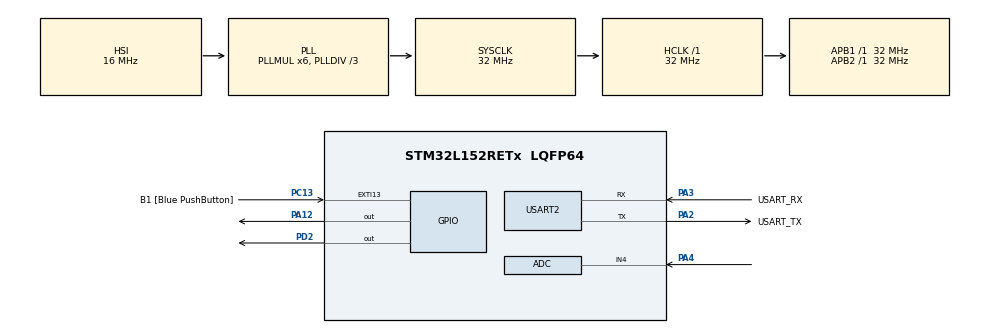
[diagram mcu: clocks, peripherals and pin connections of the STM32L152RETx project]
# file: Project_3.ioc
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ADC.Channel-0\#ChannelRegularConversion=ADC_CHANNEL_4
ADC.NbrOfConversionFlag=1
ADC.Rank-0\#ChannelRegularConversion=1
ADC.SamplingTime-0\#ChannelRegularConversion=ADC_SAMPLETIME_4CYCLES
Mcu.Family=STM32L1
Mcu.Name=STM32L152RETx
Mcu.Package=LQFP64
NVIC.PriorityGroup=NVIC_PRIORITYGROUP_0
PA12.Signal=GPIO_Output
PA13.GPIO_Label=TMS
PA13.Mode=Serial_Wire
PA13.Signal=SYS_JTMS-SWDIO
PA14.GPIO_Label=TCK
PA14.Mode=Serial_Wire
PA14.Signal=SYS_JTCK-SWCLK
PA2.GPIO_Label=USART_TX
PA2.Mode=Asynchronous
PA2.Signal=USART2_TX
PA3.GPIO_Label=USART_RX
PA3.Mode=Asynchronous
PA3.Signal=USART2_RX
PA4.Mode=IN4
PA4.Signal=ADC_IN4
PA5.Signal=S_TIM2_CH1_ETR
PB3.GPIO_Label=SWO
PB3.Signal=SYS_JTDO-TRACESWO
PB6.Signal=S_TIM4_CH1
PB7.Signal=S_TIM4_CH2
PC13-WKUP2.GPIO_Label=B1 [Blue PushButton]
PC13-WKUP2.Signal=GPXTI13
PC14-OSC32_IN.Mode=LSE-External-Oscillator
PC14-OSC32_IN.Signal=RCC_OSC32_IN
PC15-OSC32_OUT.Mode=LSE-External-Oscillator
PC15-OSC32_OUT.Signal=RCC_OSC32_OUT
PD2.Signal=GPIO_Output
PH0-OSC_IN.Mode=HSE-External-Clock-Source
PH0-OSC_IN.Signal=RCC_OSC_IN
PH1-OSC_OUT.Signal=RCC_OSC_OUT
ProjectManager.HeapSize=0x200
ProjectManager.StackSize=0x400
ProjectManager.TargetToolchain=STM32CubeIDE
RCC.48MHZClocksFreq_Value=48000000
RCC.AHBFreq_Value=32000000
RCC.APB1Freq_Value=32000000
RCC.APB1TimFreq_Value=32000000
RCC.APB2Freq_Value=32000000
RCC.APB2TimFreq_Value=32000000
RCC.HCLKFreq_Value=32000000
RCC.HSE_VALUE=8000000
RCC.HSI_VALUE=16000000
RCC.MSI_VALUE=2097000
RCC.PLLDIV=RCC_PLL_DIV3
RCC.PLLMUL=RCC_PLL_MUL6
RCC.RTCClockSelectionVirtual=RCC_RTCCLKSOURCE_LSE
RCC.SYSCLKFreq_VALUE=32000000
RCC.SYSCLKSource=RCC_SYSCLKSOURCE_PLLCLK
RCC.USBOutput=48000000
RCC.VCOOutputFreq_Value=96000000
SH.S_TIM2_CH1_ETR.0=TIM2_CH1
SH.S_TIM4_CH1.0=TIM4_CH1
SH.S_TIM4_CH2.0=TIM4_CH2
USART2.VirtualMode=VM_ASYNC
VP_TIM2_VS_ClockSourceINT.Mode=Internal
VP_TIM4_VS_ClockSourceINT.Mode=Internal
board=NUCLEO-L152RE

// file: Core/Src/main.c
/* USER CODE BEGIN Header */
/**
  ******************************************************************************
  * @file           : main.c
  * @brief          : Main program body
  ******************************************************************************
  * @attention
  *
  * Copyright (c) 2022 STMicroelectronics.
  * All rights reserved.
  *
  * This software is licensed under terms that can be found in the LICENSE file
  * in the root directory of this software component.
  * If no LICENSE file comes with this software, it is provided AS-IS.
  *
  ******************************************************************************
  */
/* USER CODE END Header */
#include "main.h"

/* USER CODE BEGIN Includes */
#include <stdio.h>
#include <stdlib.h>
#include "Utiles_SDM.h"
/* USER CODE END Includes */

 ADC_HandleTypeDef hadc;

TIM_HandleTypeDef htim2;
TIM_HandleTypeDef htim4;

UART_HandleTypeDef huart2;

/* USER CODE BEGIN PV */
int option = 0; //Variable used to know what game has been selected.
int winner = 0; //Variable that will be modified once the winner is known.
int random_time = 5000; //The random time variable is set at this value for
//the first use, after that it will be random, as its name states.
int reaction_time_winner;  //Variable used to store the time of the winner.
int permit_print = 0; //A variable used to know if the count-down is shown on screen or not.
int counter = 10; //It is a counter that will be used to print the count-down in game 2.
//The value assigned to this variable is the time at which it starts, in this case 10.
//After the count-down ends, it has to be reset.
int player_1_time_game_2; //This variables stores the time which player 1 takes to press the button in game 2.
int player_2_time_game_2; //This variables stores the time which player 2 takes to press the button in game 2.
int player_1_button = 0; //Variable used to check whether player 1 has pressed the button or not.
int player_2_button = 0; //Variable used to check whether player 2 has pressed the button or not.
uint8_t text[20]; //Used for Bin2Ascii
int speed; //Variable used to store the duration of the step for the count-down in game two. Its value will be assigned with the potentiometer.
int sound = 0;
int playing_melody = 0;
int start_game = 1;
int game_running = 1;
int play = 1;
/* USER CODE END PV */

void SystemClock_Config(void);
static void MX_GPIO_Init(void);
static void MX_USART2_UART_Init(void);
static void MX_ADC_Init(void);
static void MX_TIM2_Init(void);
static void MX_TIM4_Init(void);

/* USER CODE BEGIN 0 */
void value_of_the_ADC() {
    int value_of_the_ADC;
    value_of_the_ADC = ADC1 -> DR; //Where the value of the ADC is stored.
    if(value_of_the_ADC <= 21) { //First range of values. The equivalent step is 500 ms
    	speed = 500;
    	TIM4 -> CCR3 = 500;
    }
    else if(value_of_the_ADC <= 42) { //Second range of values. The equivalent step is 1000 ms
    	speed = 1000;
    	TIM4 -> CCR3 = 1000;
    }
    else { //Third range of values. The equivalent step is 2000 ms
    	speed = 2000;
    	TIM4 -> CCR3 = 2000;
    }
}

void Melody1(void) {
	TIM2 -> CCER |= 0x0001;
	TIM2 -> SR &= ~(1 << 1);
	TIM2 -> DIER |= (1 << 1);
	TIM2 -> DIER |= (1 << 2);
	TIM2 -> CCR1 = 72;
	playing_melody = 1;
	sound = 0;
}

void Melody2(void) {
	TIM2 -> CCER |= 0x0001;
	TIM2 -> SR &= ~(1 << 1);
	TIM2 -> DIER |= (1 << 1);
	TIM2 -> DIER |= (1 << 2);
	TIM2 -> CCR1 = 45;
	playing_melody = 1;
	sound = 1;
}

void EXTI15_10_IRQHandler(void) {
	if(EXTI -> PR != 0) {
		game_running = 0;
		option++;
		if(option > 1)
			option = 0;
		EXTI -> PR |= (1 << 13);
	}
}

void TIM4_IRQHandler(void) {
	if(option == 0) {
		if((TIM4 -> SR & (1 << 2)) != 0) {
			winner = 1;
			reaction_time_winner = TIM4 -> CCR2;
			TIM4 -> SR &= ~(1 << 2);
			random_time = reaction_time_winner * 10;
		}
		if((TIM4 -> SR & (1 << 1)) != 0) {
			winner = 2;
			reaction_time_winner = TIM4 -> CCR1;
			TIM4 -> SR &= ~(1 << 1);
			random_time = reaction_time_winner * 10;
		}
		if((TIM4 -> SR & (1 << 3)) != 0) {
			if(start_game == 0)
				start_game = 2;
			if(play == 0)
				play = 1;
			TIM4 -> SR &= ~(1 << 3);
		}
	}
	/*else if(option == 1) {
		if((TIM4 -> SR & (1 << 3)) != 0) {
			if(TIM4 -> CCR3 < speed * 10)
				TIM4 -> CCR3 += speed;
			else {
				TIM4 -> DIER &= ~(1 << 3);
				TIM4 -> CCR3 = speed;
			}
			permit_print = 1;
			TIM4 -> SR &= ~(1 << 3);
		}
		else if((TIM4 -> SR & (1 << 2)) != 0) {
			player_1_button = 1;
			player_1_time_game_2 = TIM4 -> CCR2;
			random_time = abs(TIM4 -> CCR2 - speed * 10) * 10;
			TIM4 -> SR &= ~(1 << 2);
		}
		else if((TIM4 -> SR & (1 << 1)) != 0) {
			player_2_button = 1;
			player_2_time_game_2 = TIM4 -> CCR1;
			random_time = abs(TIM4 -> CCR1 - speed * 10) * 10;
			TIM4 -> SR &= ~(1 << 1);
		}
		else if((TIM4 -> SR & (1 << 4)) != 0) {
			play = 1;
			TIM4 -> SR &= ~(1 << 4);
		}
	}*/
}
/* USER CODE END 0 */

int main(void)
{

  /* MCU Configuration--------------------------------------------------------*/

  /* Reset of all peripherals, Initializes the Flash interface and the Systick. */
  HAL_Init();

  /* Configure the system clock */
  SystemClock_Config();

  /* Initialize all configured peripherals */
  MX_GPIO_Init();
  MX_USART2_UART_Init();
  MX_ADC_Init();
  MX_TIM2_Init();
  MX_TIM4_Init();
  /* USER CODE BEGIN 2 */
  //Setup USER_BUTTON as a digital input
   GPIOC -> MODER &= ~(1 << (13 * 2));
   GPIOC -> MODER &= ~(1 << (13 * 2 + 1));

   //Setup BUTTON_1 as a digital input
   GPIOB -> MODER &= ~(1 << (7 * 2));
   GPIOB -> MODER |= (1 << (7 * 2 + 1));

   GPIOB -> AFR[0] |= (1 << (4 * 7 + 1));

   //Setup BUTTON_2 as a digital input
   GPIOB -> MODER &= ~(1 << (6 * 2));
   GPIOB -> MODER |= (1 << (6 * 2 + 1));

   GPIOB -> AFR[0] |= (1 << (4 * 6 + 1));

   //Setup LED_1 as a digital output
   GPIOA -> MODER |= (1 << (12 * 2));
   GPIOA -> MODER &= ~(1 << (12 * 2 + 1));

   //Setup LED_2 as a digital output
   GPIOD -> MODER |= (1 << (2 * 2));
   GPIOD -> MODER &= ~(1 << (2 * 2 + 1));

   //Set up EXTI13
   SYSCFG -> EXTICR[3] |= (1 << 5);
   EXTI -> IMR |= (1 << 13);
   EXTI -> RTSR &= ~(1 << 13);
   EXTI -> FTSR |= (1 << 13);
   NVIC -> ISER[1] |= (1 << 8);

  //Set up PA4 as analog
   GPIOA -> MODER |= (1 << 4 * 2);
   GPIOA -> MODER |= (1 << (4 * 2 + 1));

   //Set up PA5 as alternate function
   GPIOA -> MODER |= (1 << (5 * 2 + 1));
   GPIOA -> AFR[0] |= (1 << 4 * 5);

   //Set up TIM4
   TIM4 -> CR1 = 0x0000;
   TIM4 -> CR2 = 0x0000;
   TIM4 -> SMCR = 0x0000;
   TIM4 -> PSC = 31999; //32MHz / PSC = 1 / frequency = 10^-3 s. Each count is 1 ms
   TIM4 -> CNT = 0;
   TIM4 -> ARR = 0xffff;
   TIM4 -> DIER |= (1 << 1);
   TIM4 -> DIER |= (1 << 2);
   TIM4 -> DIER |= (1 << 3);
   //TIM4 -> DIER |= (1 << 4);
   TIM4 -> CCMR1 |= 0x0000;
   TIM4 -> CCMR1 |= (1 << 0);
   TIM4 -> CCMR1 |= (1 << 8);
   TIM4 -> CCMR2 = 0x0000;
   TIM4 -> CCER = 0x0000;
   TIM4 -> CCER |= (1 << 0);

   TIM4 -> CCER |= (1 << 4);
   NVIC -> ISER[0] |= (1 << 30);
   TIM4 -> CCR3 = random_time;
   //TIM4 -> CCR4 = 3000;
   TIM4 -> CR1 |= 0x0001;
   TIM4 -> SR = 0x0000;
   TIM4 -> EGR |= 0x0001;

   //Set up ADC1
   ADC1 -> CR2 &= ~(1 << 0); //ADON
   ADC1 -> CR1 |= (1 << 24); //RES[0]
   ADC1 -> CR1 |= (1 << 25); //RES[1]
   ADC1 -> CR2 |= (1 << 1); //CONT
   ADC1 -> CR2 |= (1 << 0); //ADON
   ADC1 -> CR2 |= (1 << 30); //SWSTART

   //Set up TIM2
   TIM2 -> CR1 = 0x0000;
   TIM2 -> CR2 = 0x0000;
   TIM2 -> SMCR = 0x0000;
   TIM2 -> PSC = 31;
   TIM2 -> CNT = 0;
   TIM2 -> ARR = 0xffff;
   TIM2 -> CCMR1 = 0x0000;
   TIM2 -> CCMR1 |= (1 << 4);
   TIM2 -> CCMR1 |= (1 << 5);
   TIM2 -> CCMR2 = 0x0000;
   TIM2 -> CCER = 0x0000;
   TIM2 -> CCR1 = 150;
   TIM2 -> CCR2 = 20000;//Seleccionar
   TIM2 -> CR1 = 0x0001;
   TIM2 -> SR = 0x0000;
   TIM2 -> EGR |= 0x0001;
   NVIC -> ISER[0] |= (1 << 28);
  /* USER CODE END 2 */

  /* Infinite loop */
  /* USER CODE BEGIN WHILE */
  while (1)
  {
	  if(play == 1) {
	  switch(option) {
	  		  	  case 0:
	  		  		  game_running = 1;
	  		  		  while(game_running != 0) {
	  		  			  if(start_game == 1) {
	  		  				  printf("GAME 1:\r\n");
	  		  				  start_game = 0;
	  		  				  TIM4 -> CNT = 0;
	  		  				  TIM4 -> CCR3 = random_time;
	  		  			  }
	  		  			  if(start_game == 2) {
	  		  				  GPIOA -> BSRR |= (1 << 12);
	  		  				  TIM4 -> CNT = 0;
	  		  			  }
	  		  			  if(winner != 0) {
	  		  				  if(winner == 1) {
	  		  					  Bin2Ascii(reaction_time_winner, text);
	  		  					  printf("-1");
	  		  				  }
	  		  				  else if(winner == 2) {
	  		  					  Bin2Ascii(reaction_time_winner, text);
	  		  					  printf("-2");
	  		  				  }
	  		  				  printf(text);
	  		  				  printf("\r\n");

	  		  				  winner = 0;
	  		  				  GPIOA -> BSRR |= (1 << (12 + 16));
	  		  				  start_game = 1;
	  		  				  game_running = 0;
	  		  			  }

	  		  		  }
	  		  		play = 0;
	  		  		TIM4 -> CNT = 0;
	  		  		TIM4 -> CCR3 = 3000;
	  		  		  break;
	  		  	  case 1:
	  		  		  game_running = 1;
	  		  		  printf("GAME 2\r\n");
	  		  		  break;
	  		  	  }
	  }
    /* USER CODE END WHILE */

  }
}

void SystemClock_Config(void)
{
  RCC_OscInitTypeDef RCC_OscInitStruct = {0};
  RCC_ClkInitTypeDef RCC_ClkInitStruct = {0};

  /** Configure the main internal regulator output voltage
  */
  __HAL_PWR_VOLTAGESCALING_CONFIG(PWR_REGULATOR_VOLTAGE_SCALE1);

  /** Initializes the RCC Oscillators according to the specified parameters
  * in the RCC_OscInitTypeDef structure.
  */
  RCC_OscInitStruct.OscillatorType = RCC_OSCILLATORTYPE_HSI;
  RCC_OscInitStruct.HSIState = RCC_HSI_ON;
  RCC_OscInitStruct.HSICalibrationValue = RCC_HSICALIBRATION_DEFAULT;
  RCC_OscInitStruct.PLL.PLLState = RCC_PLL_ON;
  RCC_OscInitStruct.PLL.PLLSource = RCC_PLLSOURCE_HSI;
  RCC_OscInitStruct.PLL.PLLMUL = RCC_PLL_MUL6;
  RCC_OscInitStruct.PLL.PLLDIV = RCC_PLL_DIV3;
  if (HAL_RCC_OscConfig(&RCC_OscInitStruct) != HAL_OK)
  {
    Error_Handler();
  }

  /** Initializes the CPU, AHB and APB buses clocks
  */
  RCC_ClkInitStruct.ClockType = RCC_CLOCKTYPE_HCLK|RCC_CLOCKTYPE_SYSCLK
                              |RCC_CLOCKTYPE_PCLK1|RCC_CLOCKTYPE_PCLK2;
  RCC_ClkInitStruct.SYSCLKSource = RCC_SYSCLKSOURCE_PLLCLK;
  RCC_ClkInitStruct.AHBCLKDivider = RCC_SYSCLK_DIV1;
  RCC_ClkInitStruct.APB1CLKDivider = RCC_HCLK_DIV1;
  RCC_ClkInitStruct.APB2CLKDivider = RCC_HCLK_DIV1;

  if (HAL_RCC_ClockConfig(&RCC_ClkInitStruct, FLASH_LATENCY_1) != HAL_OK)
  {
    Error_Handler();
  }
}

static void MX_ADC_Init(void)
{

  ADC_ChannelConfTypeDef sConfig = {0};

  /** Configure the global features of the ADC (Clock, Resolution, Data Alignment and number of conversion)
  */
  hadc.Instance = ADC1;
  hadc.Init.ClockPrescaler = ADC_CLOCK_ASYNC_DIV1;
  hadc.Init.Resolution = ADC_RESOLUTION_12B;
  hadc.Init.DataAlign = ADC_DATAALIGN_RIGHT;
  hadc.Init.ScanConvMode = ADC_SCAN_DISABLE;
  hadc.Init.EOCSelection = ADC_EOC_SEQ_CONV;
  hadc.Init.LowPowerAutoWait = ADC_AUTOWAIT_DISABLE;
  hadc.Init.LowPowerAutoPowerOff = ADC_AUTOPOWEROFF_DISABLE;
  hadc.Init.ChannelsBank = ADC_CHANNELS_BANK_A;
  hadc.Init.ContinuousConvMode = DISABLE;
  hadc.Init.NbrOfConversion = 1;
  hadc.Init.DiscontinuousConvMode = DISABLE;
  hadc.Init.ExternalTrigConv = ADC_SOFTWARE_START;
  hadc.Init.ExternalTrigConvEdge = ADC_EXTERNALTRIGCONVEDGE_NONE;
  hadc.Init.DMAContinuousRequests = DISABLE;
  if (HAL_ADC_Init(&hadc) != HAL_OK)
  {
    Error_Handler();
  }

  /** Configure for the selected ADC regular channel its corresponding rank in the sequencer and its sample time.
  */
  sConfig.Channel = ADC_CHANNEL_4;
  sConfig.Rank = ADC_REGULAR_RANK_1;
  sConfig.SamplingTime = ADC_SAMPLETIME_4CYCLES;
  if (HAL_ADC_ConfigChannel(&hadc, &sConfig) != HAL_OK)
  {
    Error_Handler();
  }

}

static void MX_TIM2_Init(void)
{

  TIM_ClockConfigTypeDef sClockSourceConfig = {0};
  TIM_MasterConfigTypeDef sMasterConfig = {0};

  htim2.Instance = TIM2;
  htim2.Init.Prescaler = 0;
  htim2.Init.CounterMode = TIM_COUNTERMODE_UP;
  htim2.Init.Period = 65535;
  htim2.Init.ClockDivision = TIM_CLOCKDIVISION_DIV1;
  htim2.Init.AutoReloadPreload = TIM_AUTORELOAD_PRELOAD_DISABLE;
  if (HAL_TIM_Base_Init(&htim2) != HAL_OK)
  {
    Error_Handler();
  }
  sClockSourceConfig.ClockSource = TIM_CLOCKSOURCE_INTERNAL;
  if (HAL_TIM_ConfigClockSource(&htim2, &sClockSourceConfig) != HAL_OK)
  {
    Error_Handler();
  }
  sMasterConfig.MasterOutputTrigger = TIM_TRGO_RESET;
  sMasterConfig.MasterSlaveMode = TIM_MASTERSLAVEMODE_DISABLE;
  if (HAL_TIMEx_MasterConfigSynchronization(&htim2, &sMasterConfig) != HAL_OK)
  {
    Error_Handler();
  }

}

static void MX_TIM4_Init(void)
{

  TIM_ClockConfigTypeDef sClockSourceConfig = {0};
  TIM_MasterConfigTypeDef sMasterConfig = {0};

  htim4.Instance = TIM4;
  htim4.Init.Prescaler = 0;
  htim4.Init.CounterMode = TIM_COUNTERMODE_UP;
  htim4.Init.Period = 65535;
  htim4.Init.ClockDivision = TIM_CLOCKDIVISION_DIV1;
  htim4.Init.AutoReloadPreload = TIM_AUTORELOAD_PRELOAD_DISABLE;
  if (HAL_TIM_Base_Init(&htim4) != HAL_OK)
  {
    Error_Handler();
  }
  sClockSourceConfig.ClockSource = TIM_CLOCKSOURCE_INTERNAL;
  if (HAL_TIM_ConfigClockSource(&htim4, &sClockSourceConfig) != HAL_OK)
  {
    Error_Handler();
  }
  sMasterConfig.MasterOutputTrigger = TIM_TRGO_RESET;
  sMasterConfig.MasterSlaveMode = TIM_MASTERSLAVEMODE_DISABLE;
  if (HAL_TIMEx_MasterConfigSynchronization(&htim4, &sMasterConfig) != HAL_OK)
  {
    Error_Handler();
  }

}

static void MX_USART2_UART_Init(void)
{

  huart2.Instance = USART2;
  huart2.Init.BaudRate = 115200;
  huart2.Init.WordLength = UART_WORDLENGTH_8B;
  huart2.Init.StopBits = UART_STOPBITS_1;
  huart2.Init.Parity = UART_PARITY_NONE;
  huart2.Init.Mode = UART_MODE_TX_RX;
  huart2.Init.HwFlowCtl = UART_HWCONTROL_NONE;
  huart2.Init.OverSampling = UART_OVERSAMPLING_16;
  if (HAL_UART_Init(&huart2) != HAL_OK)
  {
    Error_Handler();
  }

}

static void MX_GPIO_Init(void)
{
  GPIO_InitTypeDef GPIO_InitStruct = {0};

  /* GPIO Ports Clock Enable */
  __HAL_RCC_GPIOC_CLK_ENABLE();
  __HAL_RCC_GPIOH_CLK_ENABLE();
  __HAL_RCC_GPIOA_CLK_ENABLE();
  __HAL_RCC_GPIOD_CLK_ENABLE();
  __HAL_RCC_GPIOB_CLK_ENABLE();

  /*Configure GPIO pin Output Level */
  HAL_GPIO_WritePin(GPIOA, GPIO_PIN_12, GPIO_PIN_RESET);

  /*Configure GPIO pin Output Level */
  HAL_GPIO_WritePin(GPIOD, GPIO_PIN_2, GPIO_PIN_RESET);

  /*Configure GPIO pin : B1_Pin */
  GPIO_InitStruct.Pin = B1_Pin;
  GPIO_InitStruct.Mode = GPIO_MODE_IT_RISING;
  GPIO_InitStruct.Pull = GPIO_NOPULL;
  HAL_GPIO_Init(B1_GPIO_Port, &GPIO_InitStruct);

  /*Configure GPIO pin : PA12 */
  GPIO_InitStruct.Pin = GPIO_PIN_12;
  GPIO_InitStruct.Mode = GPIO_MODE_OUTPUT_PP;
  GPIO_InitStruct.Pull = GPIO_NOPULL;
  GPIO_InitStruct.Speed = GPIO_SPEED_FREQ_LOW;
  HAL_GPIO_Init(GPIOA, &GPIO_InitStruct);

  /*Configure GPIO pin : PD2 */
  GPIO_InitStruct.Pin = GPIO_PIN_2;
  GPIO_InitStruct.Mode = GPIO_MODE_OUTPUT_PP;
  GPIO_InitStruct.Pull = GPIO_NOPULL;
  GPIO_InitStruct.Speed = GPIO_SPEED_FREQ_LOW;
  HAL_GPIO_Init(GPIOD, &GPIO_InitStruct);

}

void Error_Handler(void)
{
  __disable_irq();
  while (1)
  {
  }
}
